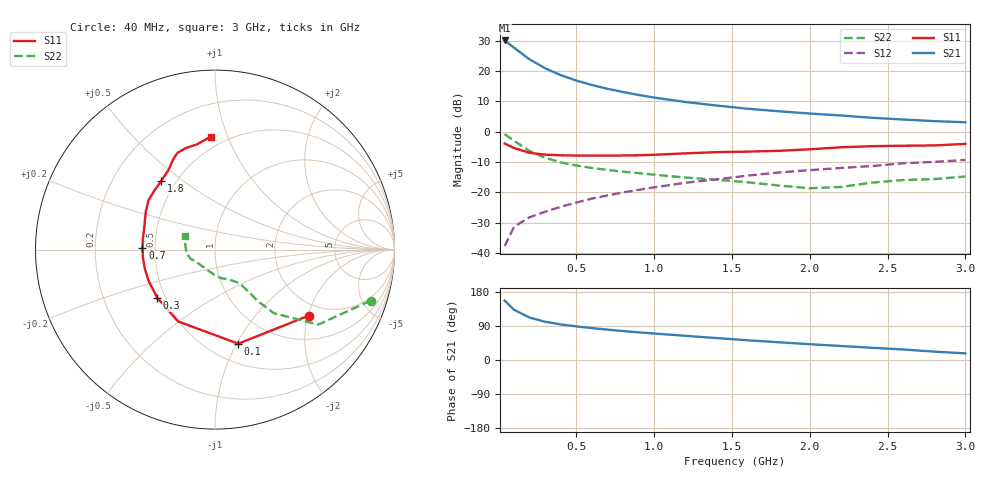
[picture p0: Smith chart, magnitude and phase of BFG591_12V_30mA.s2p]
! Filename:  BFG591C.S2P  Version:  4.0
! Philips part #: BFG591  Date: Jun 1994
! Bias condition: Vce=12V; Ic=30mA
#  MHz  S  MA  R  50
! Freq  S11  S21  S12  S22  !GUM [dB]
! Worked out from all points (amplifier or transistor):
!   21 points, 40 MHz to 3 GHz, reference 50 ohm
!   highest |S21| = 30.1 dB at 40 MHz (marker M1)
!   |S21| within 3 dB of that: start of sweep to 116.5 MHz
!   unconditionally stable (mu >= 1): 676.7 MHz to 2.195 GHz
!   at 300 MHz: K = 0.78, MSG = 23.7 dB, |S12| = -26.4 dB
!   at 1 GHz: K = 1.05, MAG = 13.4 dB, |S12| = -18.3 dB
!   at 3 GHz: K = 0.95, MSG = 6.2 dB, |S12| = -9.3 dB
!   S11 on the Smith chart (normalised r, x): 40 MHz: 1.63, -2.03; 100 MHz: 0.69, -1.02; 300 MHz: 0.45, -0.29; 700 MHz: 0.42, +0.01; 1.8 GHz: 0.42, +0.41; 3 GHz: 0.42, +0.87
40  0.639 -35.1  31.96 156.8  0.013 75.0  0.912 -18.2
100  0.54 -76.1  24.35 132.6  0.027 62.5  0.711 -36.0
200  0.45 -117.2  15.61 111.9  0.039 57.7  0.483 -47.2
300  0.419 -140.2  11.14 101.0  0.048 59.1  0.372 -50.3
400  0.409 -155.0  8.583 93.9  0.058 61.1  0.313 -51.2
500  0.405 -165.5  6.977 88.7  0.068 63.0  0.278 -52.1
600  0.404 -174.0  5.901 84.2  0.079 64.0  0.253 -53.0
700  0.404 179.0  5.111 80.2  0.089 65.0  0.235 -54.3
800  0.406 172.3  4.518 76.4  0.1 65.5  0.22 -56.0
900  0.409 166.0  4.042 73.0  0.11 66.0  0.208 -58.3
1000  0.417 160.3  3.661 69.9  0.121 65.9  0.196 -61.3
1200  0.44 151.1  3.098 63.9  0.144 65.2  0.176 -69.0
1400  0.461 143.5  2.706 57.9  0.164 63.9  0.162 -78.1
1600  0.47 136.6  2.396 52.1  0.189 63.3  0.147 -87.8
1800  0.485 128.3  2.177 46.8  0.213 60.5  0.13 -99.7
2000  0.514 120.2  1.996 41.7  0.233 59.1  0.117 -120.5
2200  0.554 114.9  1.853 37.0  0.253 57.1  0.123 -143.7
2400  0.578 111.2  1.698 32.2  0.272 56.3  0.145 -159.8
2600  0.588 106.4  1.59 27.8  0.302 52.9  0.16 -172.1
2800  0.595 99.7  1.497 22.1  0.319 49.0  0.166 173.5
3000  0.63 92.1  1.431 17.5  0.343 47.6  0.183 155.3
